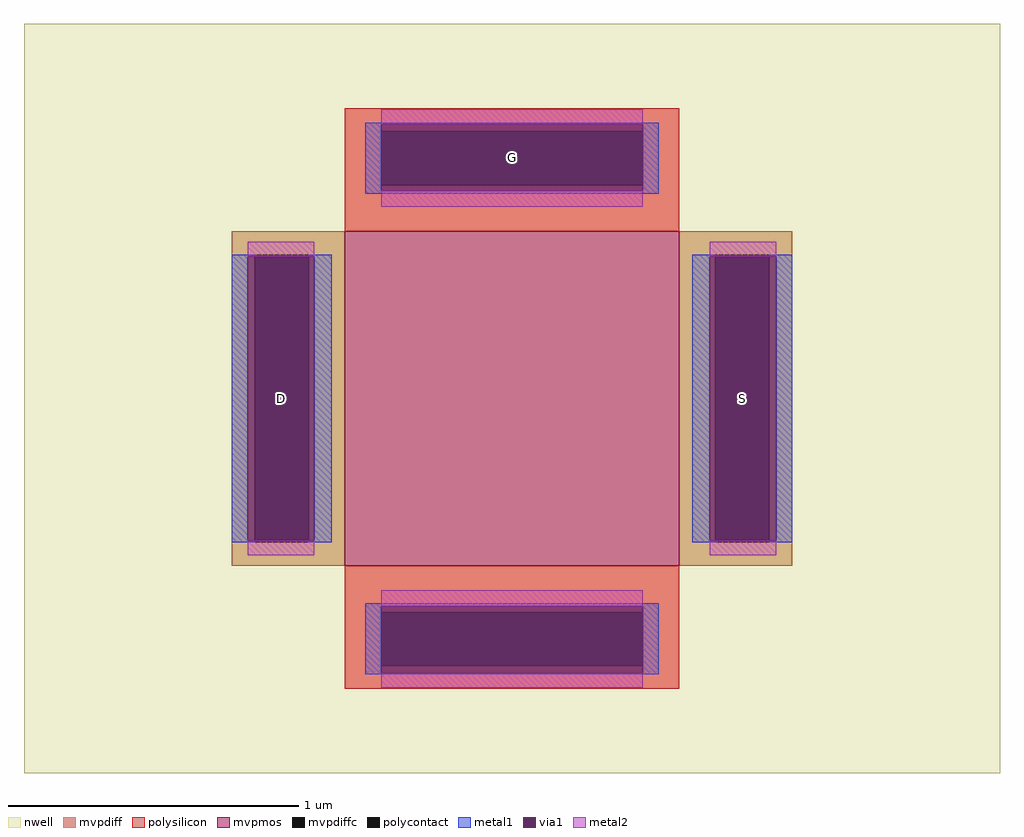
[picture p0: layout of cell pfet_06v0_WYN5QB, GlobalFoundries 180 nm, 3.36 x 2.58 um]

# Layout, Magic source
magic
tech gf180mcuD
magscale 1 10
<< nwell >>
rect -336 -258 336 258
<< mvpmos >>
rect -115 -115 115 115
<< mvpdiff >>
rect -193 99 -115 115
rect -193 -99 -177 99
rect -140 -99 -115 99
rect -193 -115 -115 -99
rect 115 99 193 115
rect 115 -99 140 99
rect 177 -99 193 99
rect 115 -115 193 -99
<< mvpdiffc >>
rect -177 -99 -140 99
rect 140 -99 177 99
<< polysilicon >>
rect -115 184 115 200
rect -115 147 -90 184
rect 90 147 115 184
rect -115 115 115 147
rect -115 -147 115 -115
rect -115 -184 -90 -147
rect 90 -184 115 -147
rect -115 -200 115 -184
<< polycontact >>
rect -90 147 90 184
rect -90 -184 90 -147
<< metal1 >>
rect -101 189 101 190
rect -101 143 -90 189
rect 90 143 101 189
rect -101 141 101 143
rect -193 98 -177 99
rect -140 98 -124 99
rect -193 -98 -182 98
rect -136 -98 -124 98
rect -193 -99 -177 -98
rect -140 -99 -124 -98
rect 124 98 140 99
rect 177 98 193 99
rect 124 -98 136 98
rect 182 -98 193 98
rect 124 -99 140 -98
rect 177 -99 193 -98
rect -101 -143 101 -141
rect -101 -189 -90 -143
rect 90 -189 101 -143
rect -101 -190 101 -189
<< via1 >>
rect -90 184 90 189
rect -90 147 90 184
rect -90 143 90 147
rect -182 -98 -177 98
rect -177 -98 -140 98
rect -140 -98 -136 98
rect 136 -98 140 98
rect 140 -98 177 98
rect 177 -98 182 98
rect -90 -147 90 -143
rect -90 -184 90 -147
rect -90 -189 90 -184
<< metal2 >>
rect -90 189 90 199
rect -90 132 90 143
rect -182 98 -136 108
rect -182 -108 -136 -98
rect 136 98 182 108
rect 136 -108 182 -98
rect -90 -143 90 -132
rect -90 -199 90 -189
<< labels >>
rlabel mvpdiffc -159 0 -159 0 0 D
port 187 nsew
rlabel mvpdiffc 159 0 159 0 0 S
port 188 nsew
rlabel polycontact 0 166 0 166 0 G
port 189 nsew
<< properties >>
string gencell pfet_05v0
string library gf180mcu
string parameters w 1.0 l 1.0 m 1 ng 1 diffcov 100 polycov 100 guard 0 glc 1 grc 1 gtc 1 gbc 1 tbcov 100 rlcov 100 topc 1 botc 1 poverlap 0 doverlap 1 lmin 0.4 wmin 0.15 class mosfet compatible {pfet_05v0 pfet_06v0} full_metal 1 conn_gates 0 gate_ring 0 ccols 1 viasrc 100 viadrn 100 viagate 100 viagb 0 viagr 0 viagl 0 viagt 0 doports 1
<< end >>
